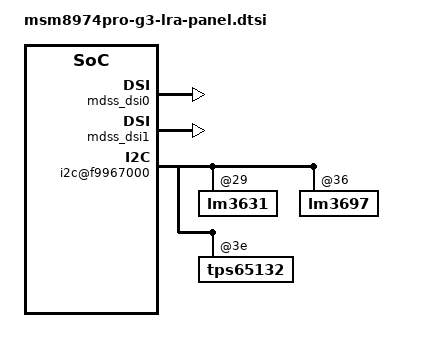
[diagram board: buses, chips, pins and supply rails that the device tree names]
/* Copyright (c) 2012, Code Aurora Forum. All rights reserved.
 *
 * This program is free software; you can redistribute it and/or modify
 * it under the terms of the GNU General Public License version 2 and
 * only version 2 as published by the Free Software Foundation.
 *
 * This program is distributed in the hope that it will be useful,
 * but WITHOUT ANY WARRANTY; without even the implied warranty of
 * MERCHANTABILITY or FITNESS FOR A PARTICULAR PURPOSE.  See the
 * GNU General Public License for more details.
 */
&mdss_dsi0 {
	status = "ok";
	lge,num-of-dsv-enable-gpio = <
		0 0  // evb1  = 0 ; evb2  = 0
		0 0  // rev_a = 0 ; rev_b = 0
		1 1  // rev_c = 1 ; rev_d = 1
		1 1  // rev_e = 0 ; rev_f = 1
		1 1  // rev_g = 1 ; rev_h = 1
		2 2  // rev_10 = 1; rev_11 = 1
		2     // rev_12 = 1
		>;
};

&mdss_dsi1 {
	status = "ok";
	qcom,platform-enable-gpio = <&msmgpio 58 1>, // HW_REV_EVB1
		<&msmgpio 58 1>, // HW_REV_EVB2
		<&msmgpio 91 1>, // HW_REV_A
		<&msmgpio 91 1>, // HW_REV_B
		<&msmgpio 56 1>, // HW_REV_C
		<&msmgpio 56 1>, // HW_REV_D
		<&msmgpio 56 1>, // HW_REV_E
		<&msmgpio 56 1>, // HW_REV_F
		<&msmgpio 56 1>, // HW_REV_G
		<&msmgpio 56 1>, // HW_REV_H
		<&msmgpio 56 1>, // HW_REV_1.0
		<&msmgpio 56 1>, // HW_REV_1.1
		<&msmgpio 56 1>; // HW_REV_1.2

	lge,num-of-dsv-enable-gpio = <
		0 0  // evb1  = 0 ; evb2  = 0
		0 0  // rev_a = 0 ; rev_b = 0
		1 1  // rev_c = 1 ; rev_d = 1
		1 1  // rev_e = 0 ; rev_f = 1
		1 1  // rev_g = 1 ; rev_h = 1
		2 2  // rev_10 = 1; rev_11 = 1
		2     // rev_12 = 1
		>;
};

&soc {
	i2c@f9967000 {
		lm3631@29{
			status = "ok";
			revision = "rev_a...rev_b";
		};
		lm3697@36{
			status = "ok";
			revision = "evb1...evb2","rev_c...";
			lcd_bl {
				lge,hvled = <
					23 12  // evb1  = hvled2, hvled3  ; evb2  = hvled1, hvled2
					12 12  // rev_a = hvled1, hvled2 ; rev_b = hvled1, hvled2
					12 12  // rev_c = hvled1, hvled2 ; rev_d = hvled1, hvled2
					12 12  // rev_e = hvled1, hvled2 ; rev_f = hvled1, hvled2
					12 12  // rev_g = hvled1, hvled2 ; rev_h = hvled1, hvled2
					12 12  // rev_10 = hvled1, hvled2 ; rev_11 = hvled1, hvled2
					12     // rev_12 = hvled1, hvled2
					>;
			};
		};
		tps65132@3e {
			status = "ok";
			revision = "rev_c...";
		};
	};
};
